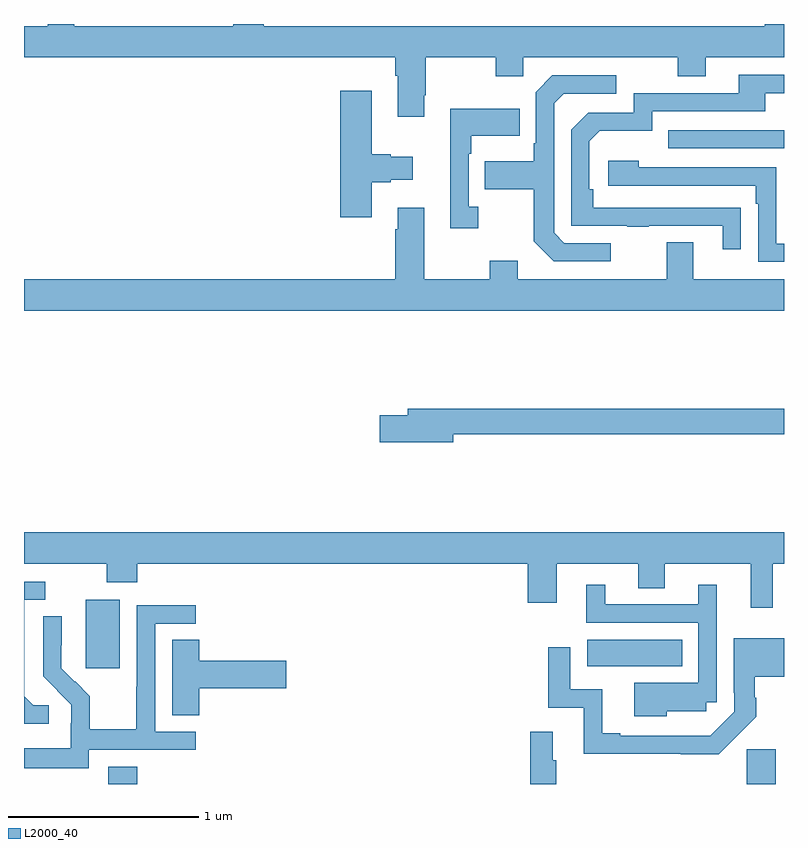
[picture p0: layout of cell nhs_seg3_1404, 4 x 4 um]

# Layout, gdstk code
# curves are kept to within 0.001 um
import gdstk
lib = gdstk.Library(unit=1e-6, precision=1e-09)
def R(c, l, rs):  # rectangles x0, y0, x1, y1
    for r in rs: c.add(gdstk.rectangle(r[:2], r[2:], *l))
def P(c, l, *ps):  # polygons
    for p in ps: c.add(gdstk.Polygon(p, *l))
L2000_40 = (2000, 40)

nhs_seg3_1404 = lib.new_cell('nhs_seg3_1404')
R(nhs_seg3_1404, L2000_40, [(183.443,722.4,183.596,722.491), (186.805,722.4,186.956,722.583), (183.326,723.009,183.505,723.37), (185.964,723.02,186.464,723.16), (186.391,725.745,187,725.841)])
P(nhs_seg3_1404, L2000_40, [(185.107,726.025),(185.115,726.025),(185.115,726.224),(185.482,726.224),(185.482,726.125),(185.628,726.125),(185.628,726.224),(186.442,726.224),(186.442,726.125),(186.589,726.125),(186.589,726.224),(187,726.224),(187,726.4),(186.899,726.4),(186.899,726.388),(184.262,726.388),(184.262,726.4),(184.102,726.4),(184.102,726.388),(183.265,726.388),(183.265,726.4),(183.125,726.4),(183.125,726.388),(183,726.388),(183,726.224),(184.955,726.224),(184.955,726.128),(184.967,726.128),(184.967,725.913),(185.107,725.913)],
  [(186.773,725.432),(185.996,725.433),(185.996,725.53),(185.976,725.53),(185.976,725.784),(186.029,725.837),(186.306,725.837),(186.306,725.94),(186.901,725.94),(186.901,726.036),(187,726.036),(187,726.132),(186.761,726.132),(186.761,726.036),(186.21,726.036),(186.21,725.934),(185.97,725.934),(185.88,725.844),(185.88,725.337),(186.175,725.337),(186.175,725.332),(186.287,725.332),(186.287,725.337),(186.677,725.337),(186.677,725.214),(186.773,725.214)],
  [(186.088,725.247),(185.844,725.247),(185.79,725.301),(185.79,725.982),(185.841,726.033),(186.118,726.033),(186.118,726.129),(185.781,726.129),(185.694,726.042),(185.694,725.773),(185.682,725.773),(185.682,725.677),(185.425,725.677),(185.425,725.53),(185.682,725.53),(185.682,725.257),(185.787,725.151),(186.088,725.151)],
  [(184.831,725.567),(184.931,725.567),(184.931,725.579),(185.047,725.579),(185.047,725.701),(184.931,725.701),(184.931,725.714),(184.831,725.714),(184.831,726.049),(184.664,726.049),(184.664,725.382),(184.831,725.382)],
  [(185.392,725.438),(185.34,725.438),(185.34,725.717),(185.353,725.717),(185.353,725.813),(185.609,725.813),(185.609,725.953),(185.243,725.953),(185.243,725.325),(185.392,725.325)],
  [(187,725.244),(186.96,725.244),(186.96,725.646),(186.236,725.646),(186.236,725.68),(186.075,725.68),(186.075,725.55),(186.851,725.55),(186.851,725.453),(186.864,725.453),(186.864,725.148),(187,725.148)],
  [(187,725.056),(186.523,725.056),(186.523,725.251),(186.383,725.251),(186.383,725.056),(185.599,725.056),(185.599,725.155),(185.452,725.155),(185.452,725.056),(185.107,725.056),(185.107,725.434),(184.967,725.434),(184.967,725.321),(184.955,725.321),(184.955,725.056),(183,725.056),(183,724.892),(187,724.892)],
  [(185.26,724.24),(187,724.24),(187,724.376),(185.021,724.376),(185.021,724.34),(184.872,724.34),(184.872,724.198),(185.26,724.198)],
  [(183,723.56),(183.436,723.56),(183.436,723.461),(183.596,723.461),(183.596,723.56),(185.651,723.56),(185.651,723.354),(185.803,723.354),(185.803,723.56),(186.233,723.56),(186.233,723.43),(186.373,723.43),(186.373,723.56),(186.824,723.56),(186.824,723.327),(186.941,723.327),(186.941,723.56),(187,723.56),(187,723.724),(183,723.724)],
  [(183.13,722.814),(183.048,722.814),(183.001,722.861),(183.001,723.369),(183.112,723.369),(183.112,723.465),(183,723.465),(183,722.717),(183.13,722.717)],
  [(186.384,722.783),(186.591,722.783),(186.591,722.829),(186.645,722.829),(186.645,723.448),(186.548,723.448),(186.548,723.345),(186.058,723.345),(186.058,723.448),(185.96,723.448),(185.96,723.249),(186.549,723.249),(186.549,722.932),(186.212,722.932),(186.212,722.756),(186.384,722.756)],
  [(183.342,722.58),(183.904,722.58),(183.904,722.676),(183.69,722.676),(183.69,723.243),(183.904,723.243),(183.904,723.342),(183.594,723.342),(183.594,722.912),(183.592,722.912),(183.592,722.689),(183.347,722.689),(183.347,722.863),(183.27,722.94),(183.267,722.937),(183.197,723.008),(183.198,723.284),(183.102,723.284),(183.102,722.966),(183.248,722.818),(183.248,722.721),(183.246,722.721),(183.246,722.587),(183,722.587),(183,722.483),(183.342,722.483)],
  [(186.854,722.753),(186.854,722.855),(186.847,722.855),(186.847,722.965),(187,722.965),(187,723.166),(186.735,723.166),(186.735,722.881),(186.738,722.881),(186.738,722.781),(186.611,722.654),(186.139,722.655),(186.139,722.668),(186.043,722.668),(186.043,722.898),(185.874,722.898),(185.874,723.121),(185.758,723.121),(185.758,722.802),(185.945,722.802),(185.945,722.558),(186.457,722.558),(186.457,722.556),(186.656,722.556)],
  [(183.923,722.903),(184.381,722.903),(184.381,723.05),(183.923,723.05),(183.923,723.158),(183.779,723.158),(183.779,722.761),(183.923,722.761)],
  [(185.801,722.525),(185.782,722.525),(185.782,722.674),(185.665,722.674),(185.665,722.4),(185.801,722.4)])

lib.write_gds('nhs_seg3_1404.gds')
